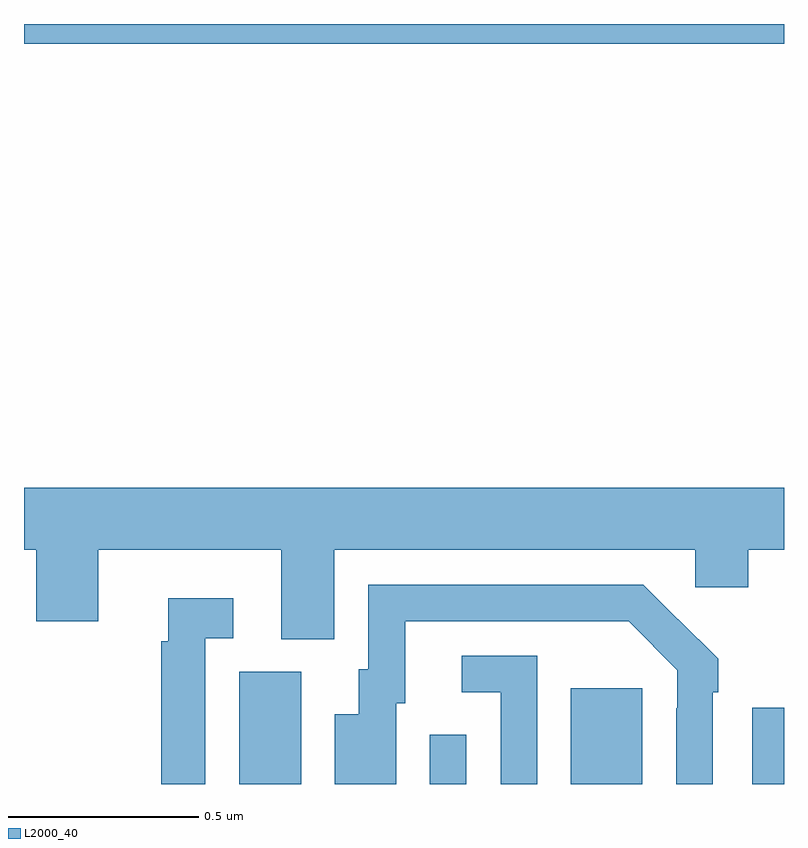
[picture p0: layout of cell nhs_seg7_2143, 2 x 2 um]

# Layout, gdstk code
import gdstk
lib = gdstk.Library(unit=1e-6, precision=1e-09)
def R(c, l, rs):  # rectangles x0, y0, x1, y1
    for r in rs: c.add(gdstk.rectangle(r[:2], r[2:], *l))
def P(c, l, *ps):  # polygons
    for p in ps: c.add(gdstk.Polygon(p, *l))
L2000_40 = (2000, 40)

nhs_seg7_2143 = lib.new_cell('nhs_seg7_2143')
R(nhs_seg7_2143, L2000_40, [(141.566,1000,141.73,1000.296), (142.068,1000,142.164,1000.129), (142.439,1000,142.627,1000.252), (142.917,1000,143,1000.201), (141,1001.948,143,1002)])
P(nhs_seg7_2143, L2000_40, [(141.817,1000.616),(142.767,1000.616),(142.767,1000.518),(142.906,1000.518),(142.906,1000.616),(143,1000.616),(143,1000.78),(141,1000.78),(141,1000.616),(141.032,1000.616),(141.032,1000.428),(141.196,1000.428),(141.196,1000.616),(141.677,1000.616),(141.677,1000.381),(141.817,1000.381)],
  [(141.979,1000.212),(142.003,1000.212),(142.003,1000.428),(142.591,1000.428),(142.719,1000.299),(142.719,1000.199),(142.716,1000.199),(142.716,1000),(142.812,1000),(142.812,1000.241),(142.827,1000.241),(142.827,1000.329),(142.722,1000.434),(142.721,1000.433),(142.63,1000.524),(141.906,1000.524),(141.906,1000.302),(141.881,1000.302),(141.881,1000.183),(141.818,1000.183),(141.818,1000),(141.979,1000)],
  [(141.477,1000.383),(141.55,1000.383),(141.55,1000.489),(141.38,1000.489),(141.38,1000.376),(141.361,1000.376),(141.361,1000),(141.477,1000)],
  [(142.35,1000.338),(142.152,1000.338),(142.152,1000.242),(142.254,1000.242),(142.254,1000),(142.35,1000)])

lib.write_gds('nhs_seg7_2143.gds')
